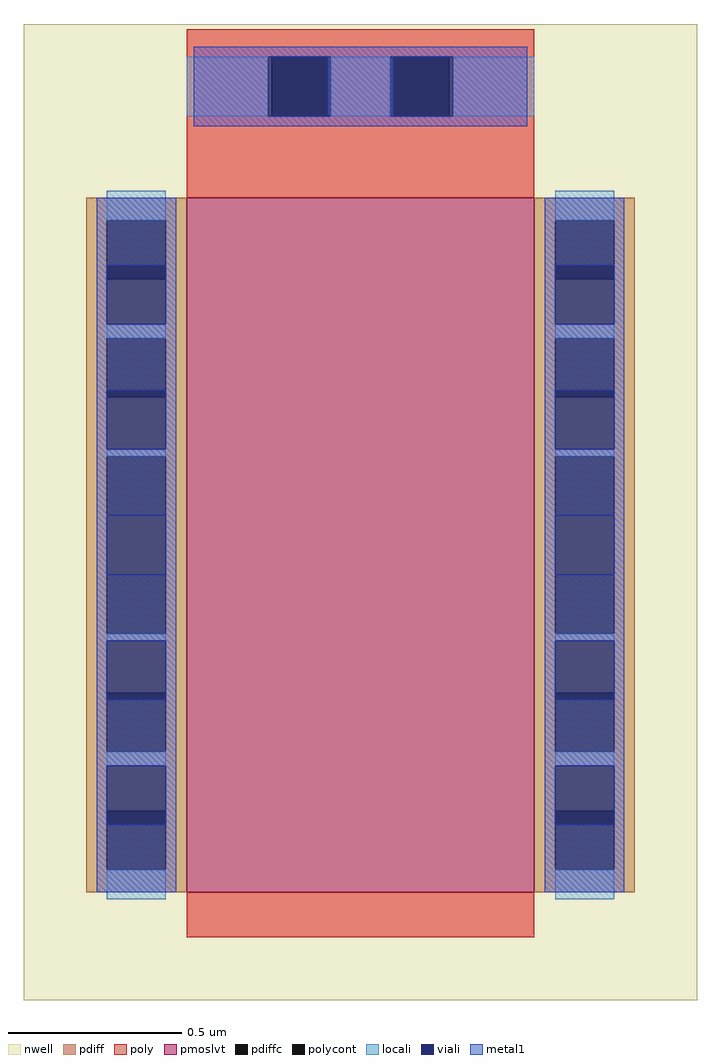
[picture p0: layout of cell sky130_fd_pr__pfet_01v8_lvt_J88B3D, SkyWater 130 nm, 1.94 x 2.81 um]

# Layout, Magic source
magic
tech sky130A
magscale 1 2
<< nwell >>
rect -194 -298 194 264
<< pmoslvt >>
rect -100 -236 100 164
<< pdiff >>
rect -158 151 -100 164
rect -158 117 -146 151
rect -112 117 -100 151
rect -158 83 -100 117
rect -158 49 -146 83
rect -112 49 -100 83
rect -158 15 -100 49
rect -158 -19 -146 15
rect -112 -19 -100 15
rect -158 -53 -100 -19
rect -158 -87 -146 -53
rect -112 -87 -100 -53
rect -158 -121 -100 -87
rect -158 -155 -146 -121
rect -112 -155 -100 -121
rect -158 -189 -100 -155
rect -158 -223 -146 -189
rect -112 -223 -100 -189
rect -158 -236 -100 -223
rect 100 151 158 164
rect 100 117 112 151
rect 146 117 158 151
rect 100 83 158 117
rect 100 49 112 83
rect 146 49 158 83
rect 100 15 158 49
rect 100 -19 112 15
rect 146 -19 158 15
rect 100 -53 158 -19
rect 100 -87 112 -53
rect 146 -87 158 -53
rect 100 -121 158 -87
rect 100 -155 112 -121
rect 146 -155 158 -121
rect 100 -189 158 -155
rect 100 -223 112 -189
rect 146 -223 158 -189
rect 100 -236 158 -223
<< pdiffc >>
rect -146 117 -112 151
rect -146 49 -112 83
rect -146 -19 -112 15
rect -146 -87 -112 -53
rect -146 -155 -112 -121
rect -146 -223 -112 -189
rect 112 117 146 151
rect 112 49 146 83
rect 112 -19 146 15
rect 112 -87 146 -53
rect 112 -155 146 -121
rect 112 -223 146 -189
<< poly >>
rect -100 245 100 261
rect -100 211 -51 245
rect -17 211 17 245
rect 51 211 100 245
rect -100 164 100 211
rect -100 -262 100 -236
<< polycont >>
rect -51 211 -17 245
rect 17 211 51 245
<< locali >>
rect -100 211 -53 245
rect -17 211 17 245
rect 53 211 100 245
rect -146 151 -112 168
rect -146 83 -112 91
rect -146 15 -112 19
rect -146 -91 -112 -87
rect -146 -163 -112 -155
rect -146 -240 -112 -223
rect 112 151 146 168
rect 112 83 146 91
rect 112 15 146 19
rect 112 -91 146 -87
rect 112 -163 146 -155
rect 112 -240 146 -223
<< viali >>
rect -53 211 -51 245
rect -51 211 -19 245
rect 19 211 51 245
rect 51 211 53 245
rect -146 117 -112 125
rect -146 91 -112 117
rect -146 49 -112 53
rect -146 19 -112 49
rect -146 -53 -112 -19
rect -146 -121 -112 -91
rect -146 -125 -112 -121
rect -146 -189 -112 -163
rect -146 -197 -112 -189
rect 112 117 146 125
rect 112 91 146 117
rect 112 49 146 53
rect 112 19 146 49
rect 112 -53 146 -19
rect 112 -121 146 -91
rect 112 -125 146 -121
rect 112 -189 146 -163
rect 112 -197 146 -189
<< metal1 >>
rect -96 245 96 251
rect -96 211 -53 245
rect -19 211 19 245
rect 53 211 96 245
rect -96 205 96 211
rect -152 125 -106 164
rect -152 91 -146 125
rect -112 91 -106 125
rect -152 53 -106 91
rect -152 19 -146 53
rect -112 19 -106 53
rect -152 -19 -106 19
rect -152 -53 -146 -19
rect -112 -53 -106 -19
rect -152 -91 -106 -53
rect -152 -125 -146 -91
rect -112 -125 -106 -91
rect -152 -163 -106 -125
rect -152 -197 -146 -163
rect -112 -197 -106 -163
rect -152 -236 -106 -197
rect 106 125 152 164
rect 106 91 112 125
rect 146 91 152 125
rect 106 53 152 91
rect 106 19 112 53
rect 146 19 152 53
rect 106 -19 152 19
rect 106 -53 112 -19
rect 146 -53 152 -19
rect 106 -91 152 -53
rect 106 -125 112 -91
rect 146 -125 152 -91
rect 106 -163 152 -125
rect 106 -197 112 -163
rect 146 -197 152 -163
rect 106 -236 152 -197
<< end >>
